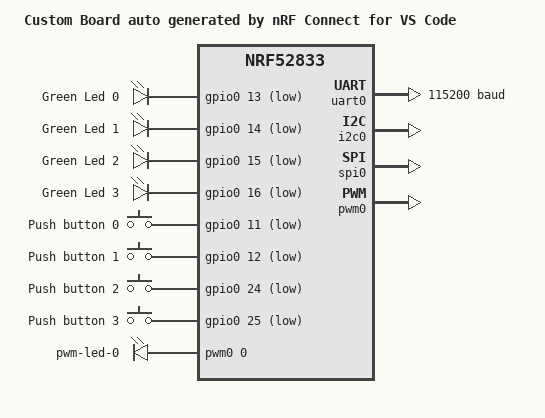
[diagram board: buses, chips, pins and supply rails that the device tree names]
/dts-v1/;
#include <nordic/nrf52833_qiaa.dtsi>
#include "devnewboard01-pinctrl.dtsi"
#include <zephyr/dt-bindings/input/input-event-codes.h>

/ {
	model = "Custom Board auto generated by nRF Connect for VS Code";
	compatible = "BE,devnewboard01";

	chosen {
		zephyr,sram = &sram0;
		zephyr,flash = &flash0;
		zephyr,code-partition = &slot0_partition;
		zephyr,console = &uart0;
		zephyr,shell-uart = &uart0;
		zephyr,uart-mcumgr = &uart0;
	};

	

	leds {
		compatible = "gpio-leds";
		led0: led_0 {
			gpios = <&gpio0 13 GPIO_ACTIVE_LOW>;
			label = "Green Led 0";
		};

		led1: led_1 {
			gpios = <&gpio0 14 GPIO_ACTIVE_LOW>;
			label = "Green Led 1";
		};

		led2: led_2 {
			gpios = <&gpio0 15 GPIO_ACTIVE_LOW>;
			label = "Green Led 2";
		};

		led3: led_3 {
			gpios = <&gpio0 16 GPIO_ACTIVE_LOW>;
			label = "Green Led 3";
		};
	};

	gpio-keys {
		compatible = "gpio-keys";
		button0: button_0 {
			gpios = <&gpio0 11 (GPIO_ACTIVE_LOW | GPIO_PULL_UP)>;
			label = "Push button 0";
		};

		button1: button_1 {
			gpios = <&gpio0 12 (GPIO_ACTIVE_LOW | GPIO_PULL_UP)>;
			label = "Push button 1";
		};

		button2: button_2 {
			gpios = <&gpio0 24 (GPIO_ACTIVE_LOW | GPIO_PULL_UP)>;
			label = "Push button 2";
		};

		button3: button_3 {
			gpios = <&gpio0 25 (GPIO_ACTIVE_LOW | GPIO_PULL_UP)>;
			label = "Push button 3";
		};
	};

	aliases {
		led0 = &led0;
		led1 = &led1;
		led2 = &led2;
		led3 = &led3;
		sw0 = &button0;
		sw1 = &button1;
		sw2 = &button2;
		sw3 = &button3;
		bootloader-led0 = &led0;
		mcuboot-button0 = &button0;
		mcuboot-led0 = &led0;
		watchdog0 = &wdt0;

	};

	pwmleds {
		compatible = "pwm-leds";
		pwm-led-0 {
			pwms = <&pwm0 0 PWM_MSEC(20) PWM_POLARITY_NORMAL>;
		};
	};
};

&flash0 {
	partitions {
		compatible = "fixed-partitions";
		#address-cells = <1>;
		#size-cells = <1>;

		boot_partition: partition@0 { 
			label = "mcuboot";
			reg = <0x00000000 DT_SIZE_K(48)>;
		};

		slot0_partition: partition@c000 {
			label = "image-0";
			reg = <0x0000c000 DT_SIZE_K(220)>;
		};

		slot1_partition: partition@43000 {
			label = "image-1";
			reg = <0x00043000 DT_SIZE_K(220)>;
		};

		storage_partition: partition@7a000 {
			label = "storage";
			reg = <0x0007a000 DT_SIZE_K(24)>;
		};
	};
};
&gpiote {
	status = "okay";
};

&gpio0 {
	status = "okay";
};

&gpio1 {
	status = "okay";
};



&uart0 {
	pinctrl-0 = <&uart0_default>;
	pinctrl-names = "default", "sleep";
	status = "okay";
	current-speed = <115200>;
	pinctrl-1 = <&uart0_default>;
};


&i2c0 {
	status = "okay";
	pinctrl-0 = <&i2c0_default>;
	pinctrl-names = "default", "sleep";
	pinctrl-1 = <&i2c0_sleep>;
	compatible = "nordic,nrf-twi";
};

&spi0 {
	status = "okay";
	pinctrl-0 = <&spi0_default>;
	pinctrl-1 = <&spi0_sleep>;
	pinctrl-names = "default", "sleep";
};

&pwm0 {
	status = "okay";
	pinctrl-0 = <&pwm0_default>;
	pinctrl-names = "default";
};

&radio {
	status = "disabled";
};

&bt_hci_sdc {
	status = "disabled";
};
